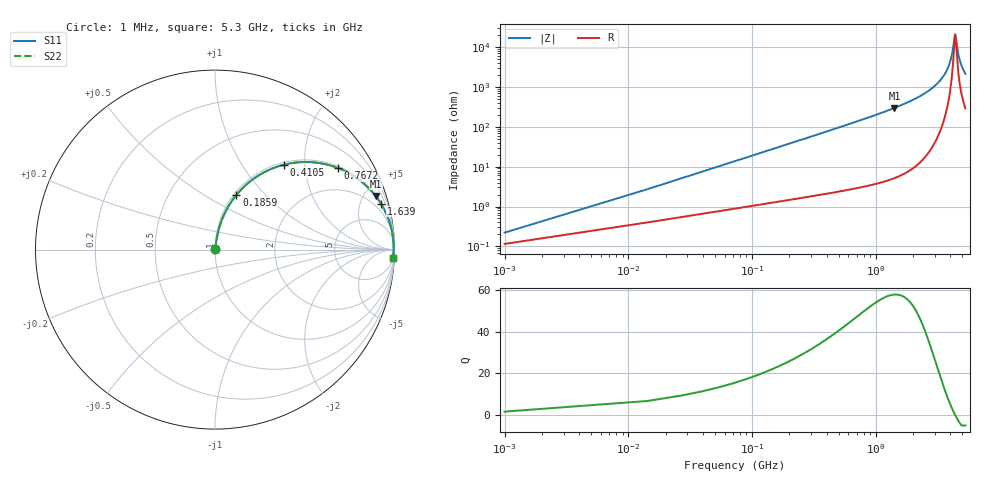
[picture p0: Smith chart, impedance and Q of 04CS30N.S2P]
! Coilcraft 0402CS-30N Chip Inductor
! 22 July 2002
# MHZ S MA R 50
!Freq  MagS11  AngS11  MagS21  AngS21  MagS12  AngS12  MagS22  AngS22
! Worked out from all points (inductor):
!   403 points, 1 MHz to 5.3 GHz, reference 50 ohm
!   read as one part in series: L = 30 nH near 27.42 MHz
!   highest Q = 57.8 at 1.414 GHz (marker M1), where L = 33.5 nH
!   self-resonance near 4.374 GHz
!   S11 on the Smith chart (normalised r, x): 1 MHz: 1.00, +0.00; 185.9 MHz: 1.03, +0.70; 410.5 MHz: 1.04, +1.56; 767.2 MHz: 1.06, +2.98; 1.639 GHz: 1.13, +7.18; 5.3 GHz: 7, -42
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1  0.002206 58.5  0.9988 -0.1  0.9988 -0.1  0.002206 58.5
40.63  0.07615 80.7  0.9905 -4.4  0.9905 -4.4  0.07615 80.7
53.84  0.1005 80.0  0.9874 -5.8  0.9874 -5.8  0.1005 80.0
106.68  0.1955 75.7  0.9704 -11.3  0.9704 -11.3  0.1955 75.7
185.94  0.3274 68.6  0.9318 -19.1  0.9318 -19.1  0.3274 68.6
278.41  0.4602 60.7  0.8729 -27.4  0.8729 -27.4  0.4602 60.7
410.51  0.6075 51.0  0.778 -37.4  0.778 -37.4  0.6075 51.0
767.18  0.823 33.5  0.5515 -55.4  0.5515 -55.4  0.823 33.5
886.07  0.8601 29.6  0.4938 -59.3  0.4938 -59.3  0.8601 29.6
1414.47  0.943 18.5  0.3168 -70.5  0.3168 -70.5  0.943 18.5
1639.04  0.9591 15.5  0.267 -73.5  0.267 -73.5  0.9591 15.5
1771.14  0.9659 14.0  0.242 -75.0  0.242 -75.0  0.9659 14.0
2656.21  0.9887 7.2  0.1249 -81.2  0.1249 -81.2  0.9887 7.2
3541.28  0.9948 3.0  0.05183 -82.8  0.05183 -82.8  0.9948 3.0
3977.21  0.9955 1.3  0.02379 -78.3  0.02379 -78.3  0.9955 1.3
4162.15  0.9954 0.7  0.01322 -69.4  0.01322 -69.4  0.9954 0.7
4347.09  0.9953 0.1  0.00512 -22.4  0.00512 -22.4  0.9953 0.1
4426.35  0.9952 -0.1  0.005398 26.1  0.005398 26.1  0.9952 -0.1
4584.87  0.9949 -0.6  0.01198 64.3  0.01198 64.3  0.9949 -0.6
4756.6  0.9945 -1.1  0.02042 73.7  0.02042 73.7  0.9945 -1.1
4994.38  0.9938 -1.8  0.032 77.9  0.032 77.9  0.9938 -1.8
5300  0.9927 -2.6  0.04631 79.6  0.04631 79.6  0.9927 -2.6
